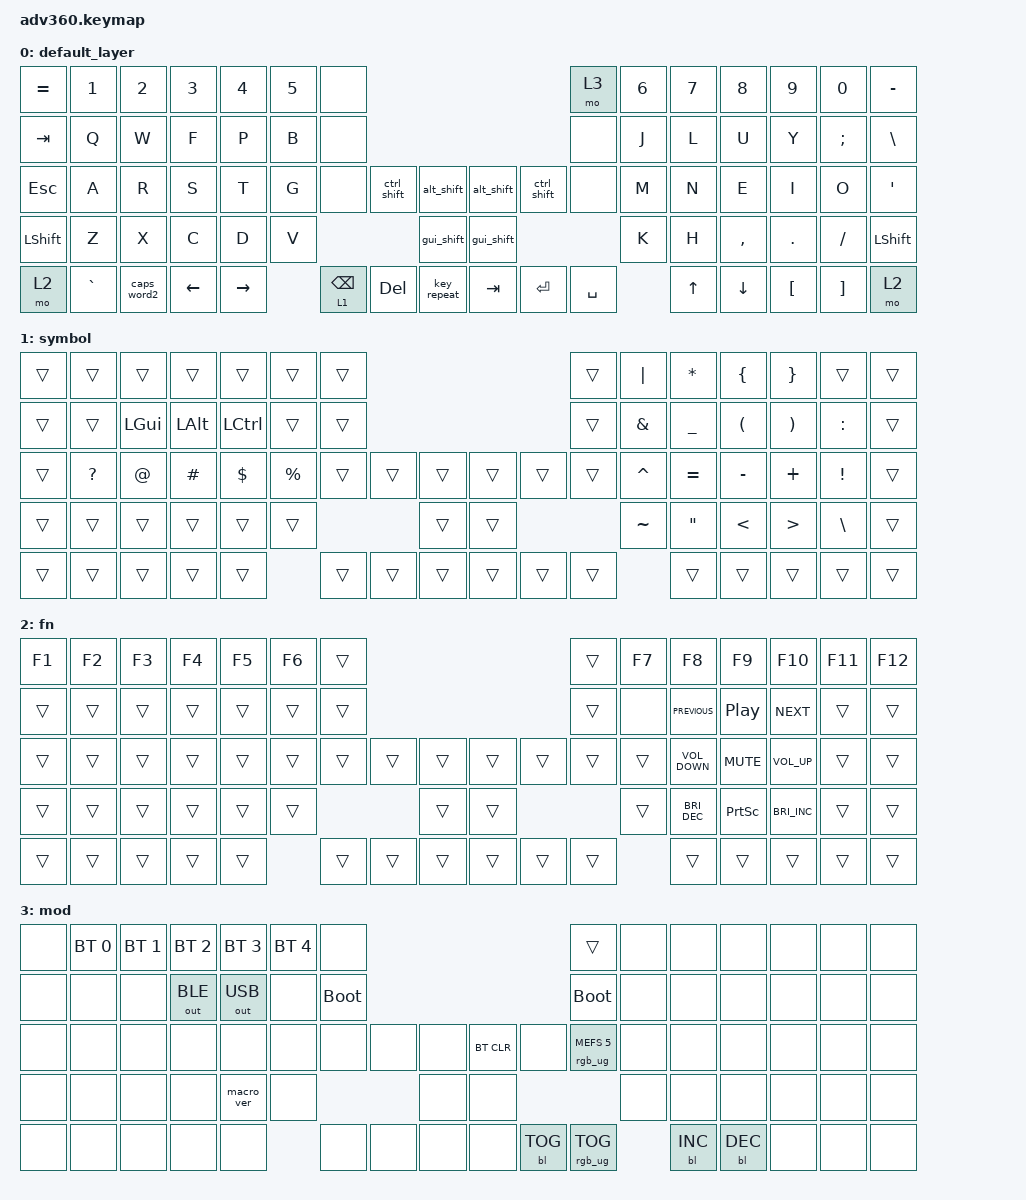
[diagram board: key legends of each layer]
#include <behaviors.dtsi>
#include <dt-bindings/zmk/backlight.h>
#include <dt-bindings/zmk/bt.h>
#include <dt-bindings/zmk/keys.h>
#include <dt-bindings/zmk/outputs.h>
#include <dt-bindings/zmk/rgb.h>

/ {
    behaviors {
        #include "macros.dtsi"
      #include "version.dtsi"
      #ifndef VERSION_MACRO

        macro_ver: macro_ver {
            compatible = "zmk,behavior-macro";
            label = "macro_version";
            #binding-cells = <0>;
            bindings = <&kp RET>;
        };

        #endif

        hm: homerow_mods {
            compatible = "zmk,behavior-hold-tap";
            label = "HOMEROW_MODS";
            #binding-cells = <2>;
            tapping-term-ms = <200>;
            flavor = "tap-preferred";
            bindings = <&kp>, <&kp>;

            quick-tap-ms = <75>;
        };

        layer: layer {
            compatible = "zmk,behavior-hold-tap";
            label = "LAYER";
            bindings = <&mo>, <&kp>;

            #binding-cells = <2>;
            tapping-term-ms = <200>;
            quick-tap-ms = <75>;
            flavor = "hold-preferred";
        };

        ctrl_shift: ctrl_shift {
            compatible = "zmk,behavior-tap-dance";
            label = "CTRL_SHIFT";
            #binding-cells = <0>;
            bindings = <&sk LCTRL>, <&sk LS(LCTRL)>;
        };

        alt_shift: alt_shift {
            compatible = "zmk,behavior-tap-dance";
            label = "ALT_SHIFT";
            #binding-cells = <0>;
            bindings = <&sk LALT>, <&sk LS(LALT)>;
        };

        gui_shift: gui_shift {
            compatible = "zmk,behavior-tap-dance";
            label = "GUI_SHIFT";
            #binding-cells = <0>;
            bindings = <&sk LGUI>, <&sk LS(LGUI)>;
        };

        caps_word2: caps_word2 {
            compatible = "zmk,behavior-tap-dance";
            label = "CAPS_WORD2";
            #binding-cells = <0>;
            bindings = <&caps_word>, <&kp CAPS>;
        };
    };

    macros {
    };

    combos { compatible = "zmk,combos"; };

    keymap {
        compatible = "zmk,keymap";

        default_layer {
            bindings = <
&kp EQUAL  &kp N1     &kp N2       &kp N3    &kp N4     &kp N5  &none                                                                      &mo 3      &kp N6  &kp N7  &kp N8     &kp N9    &kp N0         &kp MINUS
&kp TAB    &kp Q      &kp W        &kp F     &kp P      &kp B   &none                                                                      &none      &kp J   &kp L   &kp U      &kp Y     &kp SEMICOLON  &kp BACKSLASH
&kp ESC    &kp A      &kp R        &kp S     &kp T      &kp G   &none               &ctrl_shift  &alt_shift       &alt_shift  &ctrl_shift  &none      &kp M   &kp N   &kp E      &kp I     &kp O          &kp SQT
&kp LSHFT  &kp Z      &kp X        &kp C     &kp D      &kp V                                    &gui_shift       &gui_shift                          &kp K   &kp H   &kp COMMA  &kp DOT   &kp FSLH       &kp LSHIFT
&mo 2      &kp GRAVE  &caps_word2  &kp LEFT  &kp RIGHT          &layer 1 BACKSPACE  &kp DEL      &key_repeat      &kp TAB     &kp ENTER    &kp SPACE          &kp UP  &kp DOWN   &kp LBKT  &kp RBKT       &mo 2
            >;
        };

        symbol {
            bindings = <
&trans  &trans     &trans    &trans    &trans     &trans     &trans                                      &trans  &kp PIPE   &kp STAR   &kp LBRC   &kp RBRC  &trans         &trans
&trans  &trans     &kp LGUI  &kp LALT  &kp LCTRL  &trans     &trans                                      &trans  &kp AMPS   &kp UNDER  &kp LPAR   &kp RPAR  &kp COLON      &trans
&trans  &kp QMARK  &kp AT    &kp HASH  &kp DLLR   &kp PRCNT  &trans  &trans  &trans      &trans  &trans  &trans  &kp CARET  &kp EQUAL  &kp MINUS  &kp PLUS  &kp EXCL       &trans
&trans  &trans     &trans    &trans    &trans     &trans                     &trans      &trans                  &kp TILDE  &kp DQT    &kp LT     &kp GT    &kp BACKSLASH  &trans
&trans  &trans     &trans    &trans    &trans                &trans  &trans  &trans      &trans  &trans  &trans             &trans     &trans     &trans    &trans         &trans
            >;
        };

        fn {
            bindings = <
&kp F1  &kp F2  &kp F3  &kp F4  &kp F5  &kp F6  &trans                                      &trans  &kp F7  &kp F8                &kp F9            &kp F10               &kp F11  &kp F12
&trans  &trans  &trans  &trans  &trans  &trans  &trans                                      &trans  &none   &kp C_PREVIOUS        &kp C_PLAY_PAUSE  &kp C_NEXT            &trans   &trans
&trans  &trans  &trans  &trans  &trans  &trans  &trans  &trans  &trans      &trans  &trans  &trans  &trans  &kp C_VOLUME_DOWN     &kp K_MUTE        &kp C_VOLUME_UP       &trans   &trans
&trans  &trans  &trans  &trans  &trans  &trans                  &trans      &trans                  &trans  &kp C_BRIGHTNESS_DEC  &kp PRINTSCREEN   &kp C_BRIGHTNESS_INC  &trans   &trans
&trans  &trans  &trans  &trans  &trans          &trans  &trans  &trans      &trans  &trans  &trans          &trans                &trans            &trans                &trans   &trans
            >;
        };

        mod {
            bindings = <
&none  &bt BT_SEL 0  &bt BT_SEL 1  &bt BT_SEL 2  &bt BT_SEL 3  &bt BT_SEL 4  &none                                                  &trans                  &none  &none       &none       &none  &none  &none
&none  &none         &none         &out OUT_BLE  &out OUT_USB  &none         &bootloader                                            &bootloader             &none  &none       &none       &none  &none  &none
&none  &none         &none         &none         &none         &none         &none        &none  &none      &bt BT_CLR  &none       &rgb_ug RGB_MEFS_CMD 5  &none  &none       &none       &none  &none  &none
&none  &none         &none         &none         &macro_ver    &none                             &none      &none                                           &none  &none       &none       &none  &none  &none
&none  &none         &none         &none         &none                       &none        &none  &none      &none       &bl BL_TOG  &rgb_ug RGB_TOG                &bl BL_INC  &bl BL_DEC  &none  &none  &none
            >;
        };
    };
};
